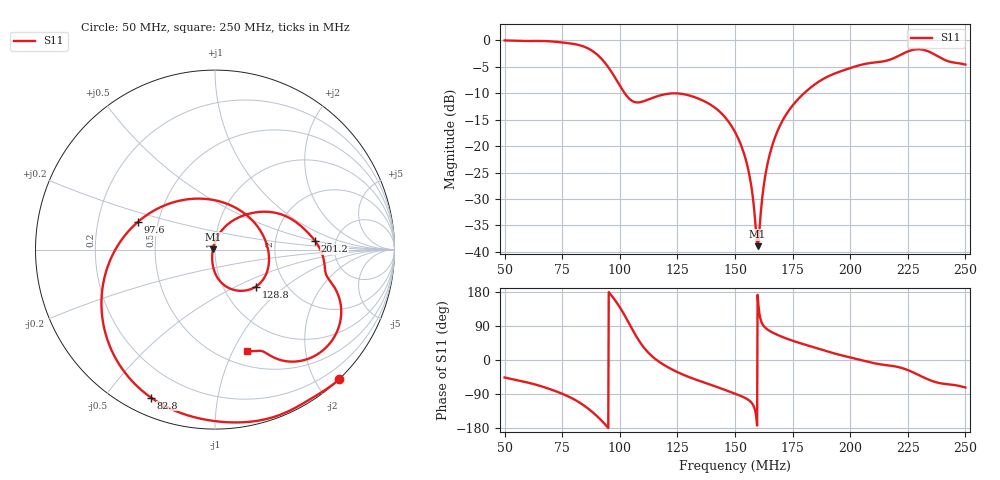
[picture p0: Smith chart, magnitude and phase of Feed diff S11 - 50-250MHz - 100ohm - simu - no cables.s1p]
! TOUCHSTONE file generated by CST MICROWAVE STUDIO
! Date and time: Thu Dec 15 14:07:54 2016
! Project name: PAPER-FEED-NEWREF-1ports-100ohm-LIGHT-cable4-20-2.cst
! Header version: 2015
! Port assignment regex: !\s*Touchstone port\s*([0-9]+)\s*=\s*CST MWS port\s*([0-9]+)\s*\(\"(.*)\"\)(\s*mode\s*([0-9]+))?.*
! Touchstone port assignment:
! Touchstone port 1 = CST MWS port 1 ("")
# MHZ S MA R 100
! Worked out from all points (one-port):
!   1001 points, 50 MHz to 250 MHz, reference 100 ohm
!   lowest |S11| = -38.9 dB at 159.8 MHz (marker M1), VSWR 1.02, Z = 97.8 + j0.308 ohm
!   |S11| at or under -10 dB: 102.2 MHz to 123.5 MHz (21.32 MHz wide, 18.9 % of centre); 124.1 MHz to 179.9 MHz (55.8 MHz wide, 36.7 % of centre)
!   S11 on the Smith chart (normalised r, x): 50 MHz: -0.00, -2.35; 82.8 MHz: 0.08, -0.65; 97.6 MHz: 0.38, +0.15; 128.8 MHz: 1.42, -0.64; 201.2 MHz: 3.46, +0.49; 250 MHz: 0.65, -1.13
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50  1 -46.2
63.8  0.9892 -65.5
75  0.9576 -89.1
82.8  0.8982 -113.4
90.8  0.7144 -152.2
97.6  0.4579 160.5
100  0.3749 139.2
104.4  0.2773 92.4
110.8  0.2684 30.2
125  0.3157 -31.9
128.8  0.3071 -42.1
141.4  0.2304 -69.5
150  0.1362 -88.9
155.8  0.05945 -105.1
159.8  0.01134 172.0
160.6  0.01618 122.0
163  0.05045 86.0
165.4  0.08894 75.4
169.4  0.1546 63.7
175  0.2426 50.8
186.2  0.4055 29.8
200  0.5482 6.8
201.2  0.559 5.0
219.2  0.6845 -16.6
225  0.7864 -26.6
234  0.787 -51.7
239.6  0.6773 -61.8
250  0.5912 -72.5
